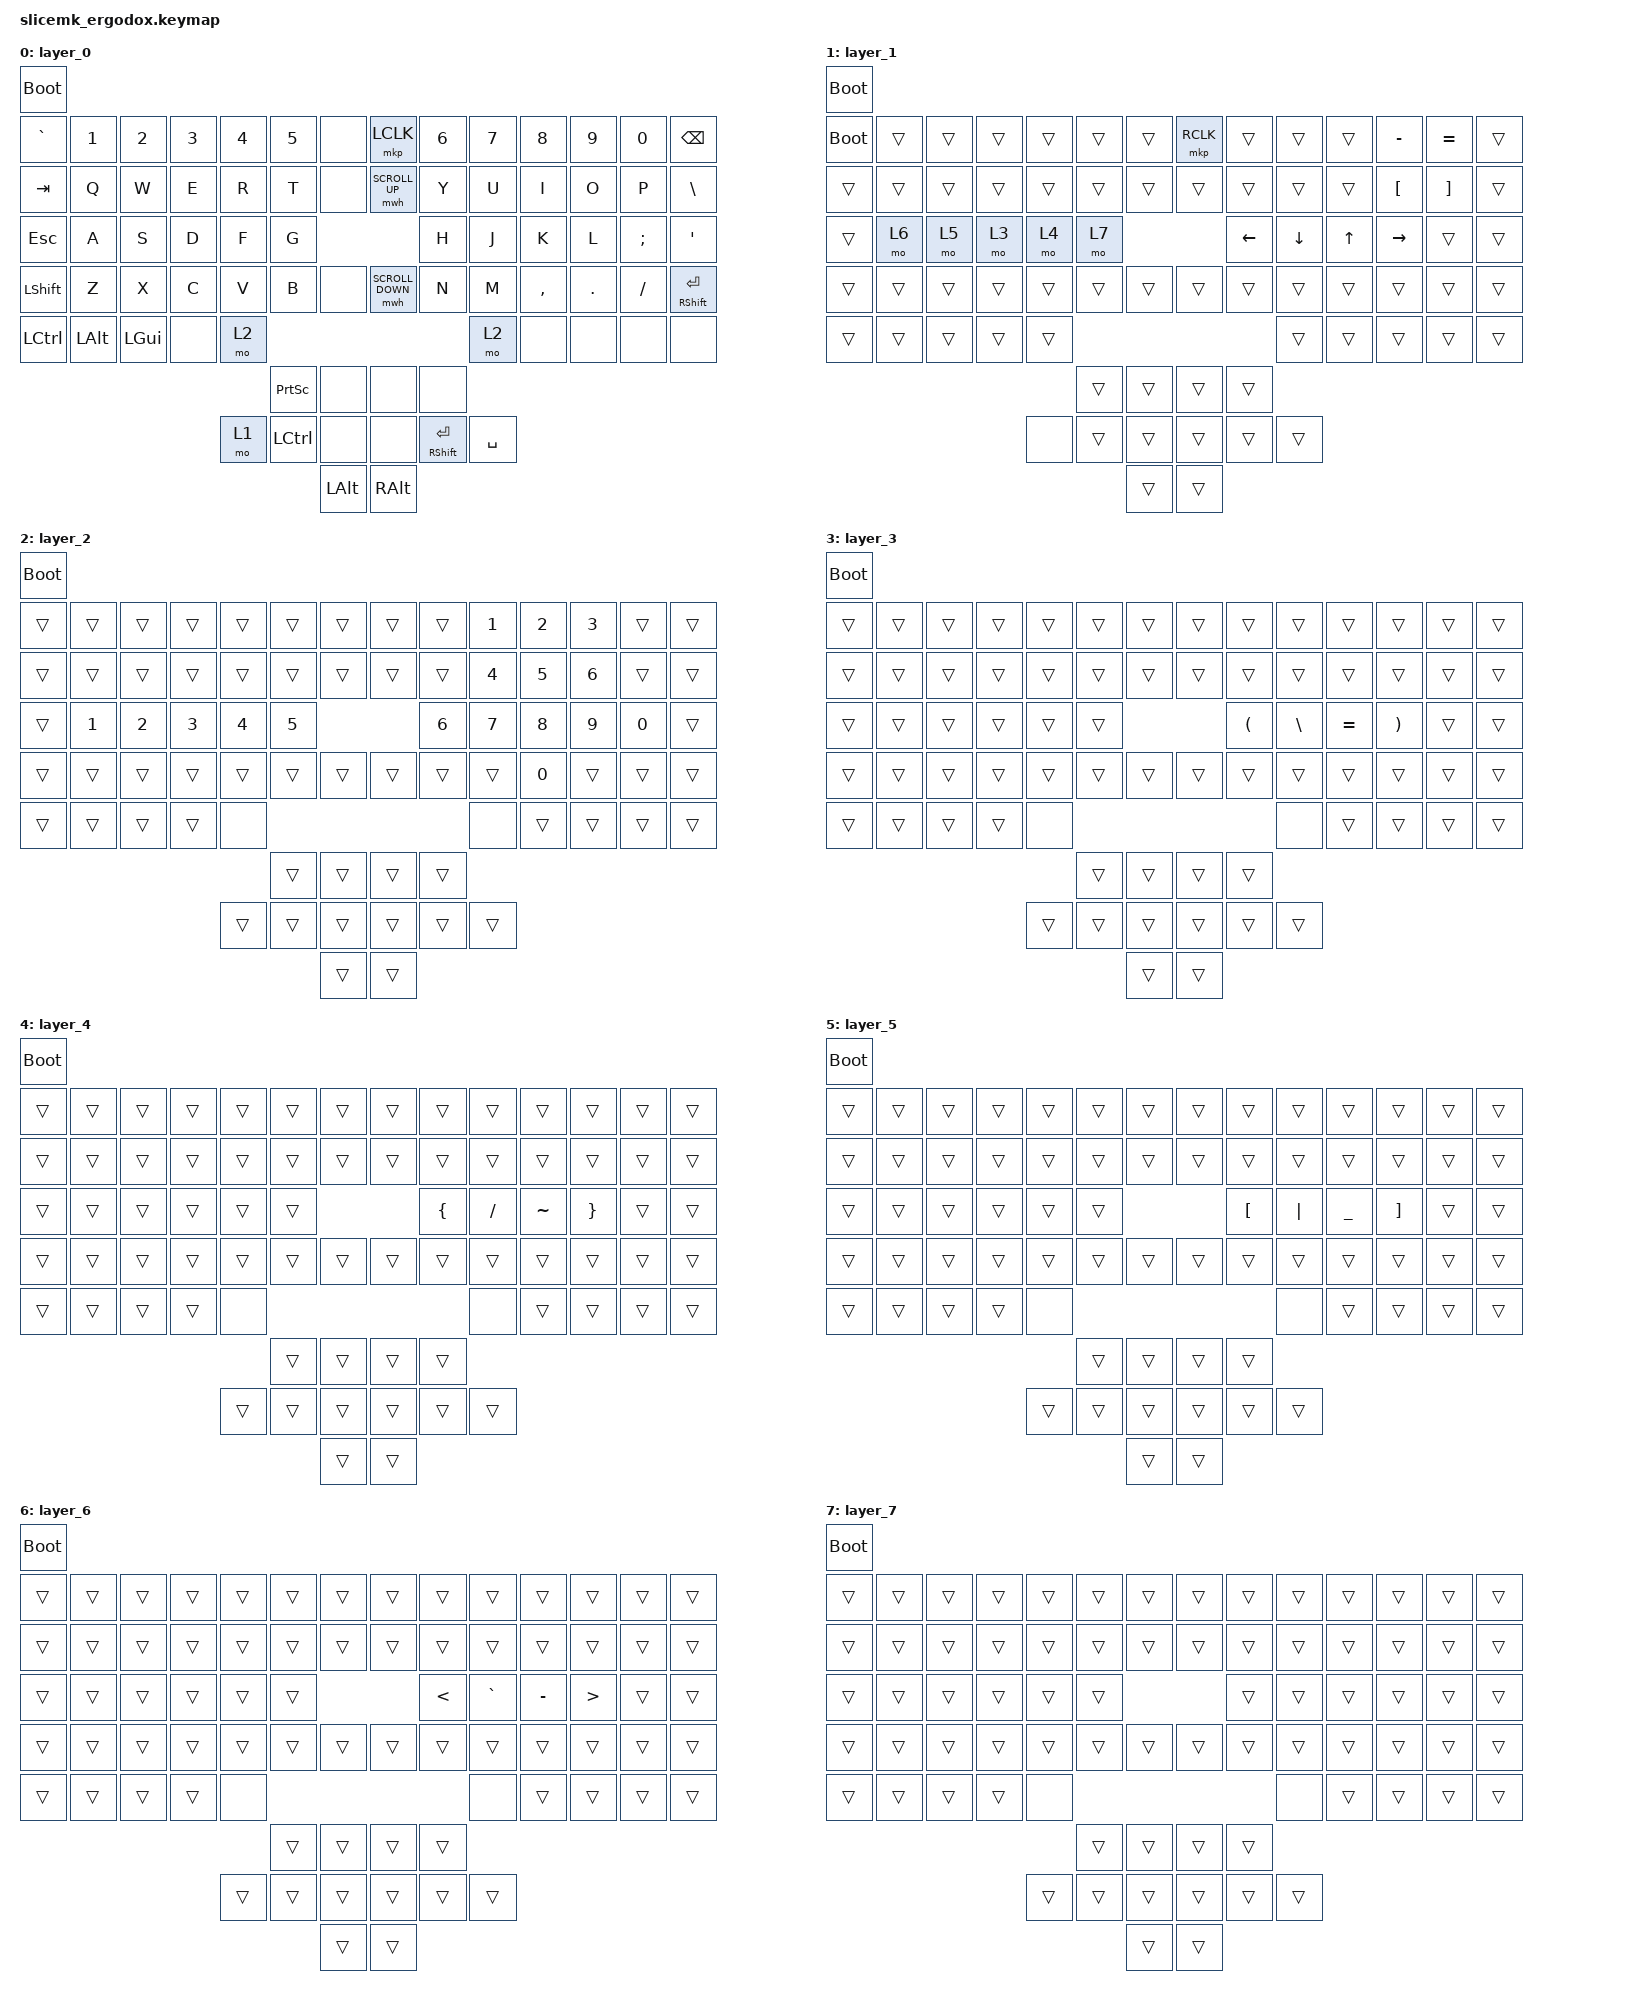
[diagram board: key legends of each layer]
#include <behaviors.dtsi>
#include <dt-bindings/zmk/bt.h>
#include <dt-bindings/zmk/keys.h>
#include <dt-bindings/zmk/mouse.h>
#include <dt-bindings/zmk/outputs.h>
#include <dt-bindings/zmk/rgb.h>

/ {
	keymap {
		compatible = "zmk,keymap";
		layer_0 {
			bindings = <
				&bootloader
				&kp GRAV     &kp NUMBER_1 &kp NUMBER_2   &kp NUMBER_3 &kp NUMBER_4         &kp NUMBER_5    &none                 &mkp LCLK             &kp NUMBER_6    &kp NUMBER_7    &kp NUMBER_8  &kp NUMBER_9      &kp NUMBER_0       &kp BACKSPACE
				&kp TAB      &kp Q        &kp W          &kp E        &kp R                &kp T           &none                 &mwh SCROLL_UP        &kp Y           &kp U           &kp I         &kp O             &kp P              &kp BSLH
				&kp ESC      &kp A        &kp S          &kp D        &kp F                &kp G                                                       &kp H           &kp J           &kp K         &kp L             &kp SEMICOLON      &kp SQT
				&kp LSHIFT   &kp Z        &kp X          &kp C        &kp V                &kp B           &none                 &mwh SCROLL_DOWN      &kp N           &kp M           &kp CMMA      &kp DOT           &kp FSLH           &mt RSHIFT ENTER 
				&kp LCTRL    &kp LALT     &kp LGUI       &none        &mo 2                                                                                            &mo 2           &none         &none             &none              &none
				                                  								           &kp PRINTSCREEN &none                 &none                 &none
				                                                      &mo 1                &kp LCTRL       &none                 &none                 &mt RSHIFT ENTER &kp SPC
				                                                                                           &kp LALT              &kp RALT
			>;
		};
		layer_1 {
			bindings = <
				&bootloader
				&bootloader  &trans       &trans         &trans       &trans               &trans          &trans                &mkp RCLK             &trans         &trans           &trans        &kp MINUS         &kp EQUAL          &trans
				&trans       &trans       &trans         &trans       &trans               &trans          &trans                &trans                &trans         &trans           &trans        &kp LEFT_BRACKET  &kp RIGHT_BRACKET  &trans
				&trans       &mo 6        &mo 5          &mo 3        &mo 4                &mo 7                                                       &kp LEFT       &kp DOWN         &kp UP        &kp RIGHT         &trans             &trans
				&trans       &trans       &trans         &trans       &trans               &trans          &trans                &trans                &trans         &trans           &trans        &trans            &trans             &trans
				&trans       &trans       &trans         &trans       &trans                                                                                          &trans           &trans        &trans            &trans             &trans
																			               &trans          &trans                &trans                &trans
															          &none                &trans          &trans                &trans                &trans         &trans
																							               &trans                &trans
			>;
		};
		layer_2 {
			bindings = <
				&bootloader
				&trans       &trans       &trans         &trans       &trans               &trans          &trans                &trans                &trans          &kp NUM_1        &kp NUM_2    &kp NUM_3         &trans             &trans
				&trans       &trans       &trans         &trans       &trans               &trans          &trans                &trans                &trans          &kp NUM_4        &kp NUM_5    &kp NUM_6         &trans             &trans
				&trans       &kp NUM_1    &kp NUM_2      &kp NUM_3    &kp NUM_4            &kp NUM_5                                                   &kp NUM_6       &kp NUM_7        &kp NUM_8    &kp NUM_9         &kp NUM_0          &trans
				&trans       &trans       &trans         &trans       &trans               &trans          &trans                &trans                &trans          &trans           &kp NUMBER_0 &trans            &trans             &trans
				&trans       &trans       &trans         &trans       &none                                                                                            &none            &trans       &trans            &trans             &trans
																                           &trans          &trans                &trans                &trans
													      			  &trans               &trans          &trans                &trans                &trans          &trans
																				                           &trans                &trans
			>;
		};
		layer_3 {
			bindings = <
				&bootloader
				&trans       &trans       &trans         &trans       &trans               &trans          &trans                &trans                &trans          &trans           &trans       &trans            &trans             &trans
				&trans       &trans       &trans         &trans       &trans               &trans          &trans                &trans                &trans          &trans           &trans       &trans            &trans             &trans
				&trans       &trans       &trans         &trans       &trans               &trans                                                      &kp LPAR        &kp BSLH         &kp EQUAL    &kp RPAR          &trans             &trans
				&trans       &trans       &trans         &trans       &trans               &trans          &trans                &trans                &trans          &trans           &trans       &trans            &trans             &trans
				&trans       &trans       &trans         &trans       &none                                                                                            &none            &trans       &trans            &trans             &trans
																                           &trans          &trans                &trans                &trans
													      			  &trans               &trans          &trans                &trans                &trans          &trans
																				                           &trans                &trans
			>;
		};
		layer_4 {
			bindings = <
				&bootloader
				&trans       &trans       &trans         &trans       &trans               &trans          &trans                &trans                &trans          &trans           &trans       &trans            &trans             &trans
				&trans       &trans       &trans         &trans       &trans               &trans          &trans                &trans                &trans          &trans           &trans       &trans            &trans             &trans
				&trans       &trans       &trans         &trans       &trans               &trans                                                      &kp LBRC        &kp FSLH         &kp TILDE    &kp RBRC          &trans             &trans
				&trans       &trans       &trans         &trans       &trans               &trans          &trans                &trans                &trans          &trans           &trans       &trans            &trans             &trans
				&trans       &trans       &trans         &trans       &none                                                                                            &none            &trans       &trans            &trans             &trans
																                           &trans          &trans                &trans                &trans
													      			  &trans               &trans          &trans                &trans                &trans          &trans
																				                           &trans                &trans
			>;
		};
		layer_5 {
			bindings = <
				&bootloader
				&trans       &trans       &trans         &trans       &trans               &trans          &trans                &trans                &trans          &trans           &trans       &trans            &trans             &trans
				&trans       &trans       &trans         &trans       &trans               &trans          &trans                &trans                &trans          &trans           &trans       &trans            &trans             &trans
				&trans       &trans       &trans         &trans       &trans               &trans                                                      &kp LBKT        &kp PIPE         &kp UNDER    &kp RBKT          &trans             &trans
				&trans       &trans       &trans         &trans       &trans               &trans          &trans                &trans                &trans          &trans           &trans       &trans            &trans             &trans
				&trans       &trans       &trans         &trans       &none                                                                                            &none            &trans       &trans            &trans             &trans
																                           &trans          &trans                &trans                &trans
													      			  &trans               &trans          &trans                &trans                &trans          &trans
																				                           &trans                &trans
			>;
		};
		layer_6 {
			bindings = <
				&bootloader
				&trans       &trans       &trans         &trans       &trans               &trans          &trans                &trans                &trans          &trans           &trans       &trans            &trans             &trans
				&trans       &trans       &trans         &trans       &trans               &trans          &trans                &trans                &trans          &trans           &trans       &trans            &trans             &trans
				&trans       &trans       &trans         &trans       &trans               &trans                                                      &kp LT          &kp GRAVE        &kp MINUS    &kp GT            &trans             &trans
				&trans       &trans       &trans         &trans       &trans               &trans          &trans                &trans                &trans          &trans           &trans       &trans            &trans             &trans
				&trans       &trans       &trans         &trans       &none                                                                                            &none            &trans       &trans            &trans             &trans
																                           &trans          &trans                &trans                &trans
													      			  &trans               &trans          &trans                &trans                &trans          &trans
																				                           &trans                &trans
			>;
		};
		layer_7 {
			bindings = <
				&bootloader
				&trans       &trans       &trans         &trans       &trans               &trans          &trans                &trans                &trans          &trans           &trans       &trans            &trans             &trans
				&trans       &trans       &trans         &trans       &trans               &trans          &trans                &trans                &trans          &trans           &trans       &trans            &trans             &trans
				&trans       &trans       &trans         &trans       &trans               &trans                                                      &trans          &trans           &trans       &trans            &trans             &trans
				&trans       &trans       &trans         &trans       &trans               &trans          &trans                &trans                &trans          &trans           &trans       &trans            &trans             &trans
				&trans       &trans       &trans         &trans       &none                                                                                            &none            &trans       &trans            &trans             &trans
																                           &trans          &trans                &trans                &trans
													      			  &trans               &trans          &trans                &trans                &trans          &trans
																				                           &trans                &trans
			>;
		};
	};
};
